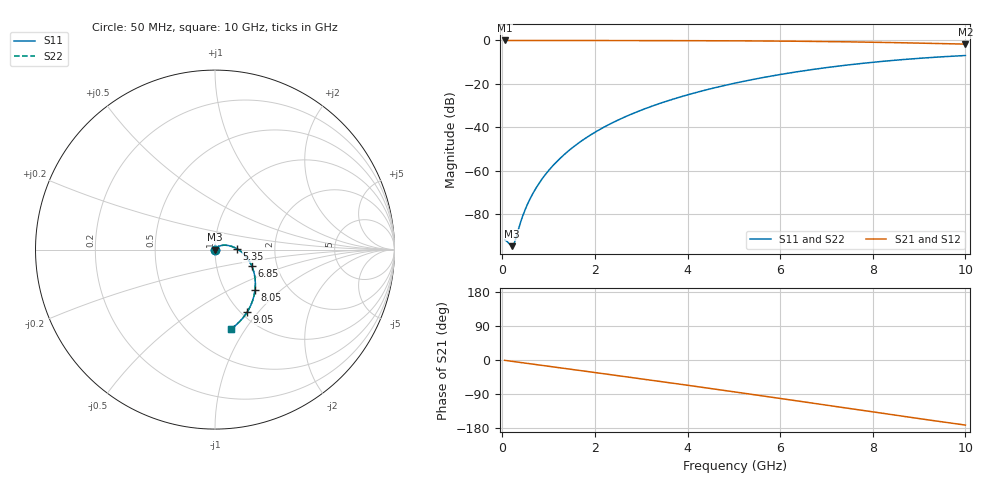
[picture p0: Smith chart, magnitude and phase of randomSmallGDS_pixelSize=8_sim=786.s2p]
! freq	dB(S11)	phase(S11)	dB(S12)	phase(S12)
!  dB(S21)	phase(S21)	dB(S22)	phase(S22)
!S-par simulation data
#  GHz  S  DB  R 50
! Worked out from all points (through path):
!   200 points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, 50 MHz to 10 GHz, reference 50 ohm
!   highest |S21| = 0.00 dB at 50 MHz (marker M1); lowest = -1.7 dB at 10 GHz (marker M2)
!   group delay of S21, straight-line fit = 48 ps
!   lowest |S11| = -94.7 dB at 200 MHz (marker M3), VSWR 1.00, Z = 50 + j0.000839 ohm
!   |S11| at or under -10 dB: start of sweep to 8.026 GHz
!   |S22| runs from -94.7 to -6.9 dB; largest |S21 - S12| = 0
!   S11 on the Smith chart (normalised r, x): 50 MHz: 1.00, +0.00; 5.35 GHz: 1.28, +0.01; 6.85 GHz: 1.48, -0.29; 8.05 GHz: 1.37, -0.69; 9.05 GHz: 1.07, -0.88; 10 GHz: 0.78, -0.86
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0.05  -91.82 0.2  -0.00 -0.8  -0.00 -0.8  -91.82 0.2
0.2  -94.74 27.3  -0.00 -3.3  -0.00 -3.3  -94.73 27.3
0.45  -80.32 98.8  -0.01 -7.5  -0.01 -7.5  -80.32 98.7
0.6  -72.93 97.7  -0.01 -10.0  -0.01 -10.0  -72.93 97.6
0.7  -69.01 95.2  -0.01 -11.6  -0.01 -11.6  -69.01 95.1
0.85  -64.06 91.0  -0.02 -14.1  -0.02 -14.1  -64.06 90.9
1  -59.91 86.8  -0.02 -16.5  -0.02 -16.5  -59.91 86.8
1.35  -52.32 77.9  -0.03 -22.3  -0.03 -22.3  -52.32 77.9
1.75  -45.69 68.8  -0.03 -28.9  -0.03 -28.9  -45.69 68.8
2.1  -41.06 61.5  -0.04 -34.7  -0.04 -34.7  -41.06 61.5
2.5  -36.66 53.6  -0.05 -41.4  -0.05 -41.4  -36.66 53.6
3.4  -29.01 36.8  -0.07 -56.5  -0.07 -56.5  -29.01 36.8
4.25  -23.60 21.6  -0.11 -70.9  -0.11 -70.9  -23.60 21.6
5.05  -19.55 7.5  -0.17 -84.7  -0.17 -84.7  -19.55 7.4
5.35  -18.23 2.2  -0.20 -90.0  -0.20 -90.0  -18.23 2.1
6  -15.68 -9.4  -0.29 -101.4  -0.29 -101.4  -15.68 -9.4
6.7  -13.37 -21.8  -0.43 -113.8  -0.43 -113.8  -13.37 -21.8
6.85  -12.93 -24.4  -0.47 -116.5  -0.47 -116.5  -12.93 -24.4
8.05  -9.95 -45.5  -0.83 -137.9  -0.83 -137.9  -9.95 -45.6
8.35  -9.35 -50.7  -0.95 -143.2  -0.95 -143.2  -9.35 -50.8
9.05  -8.15 -62.7  -1.24 -155.5  -1.24 -155.5  -8.15 -62.7
10  -6.93 -78.5  -1.69 -171.8  -1.69 -171.8  -6.93 -78.5
